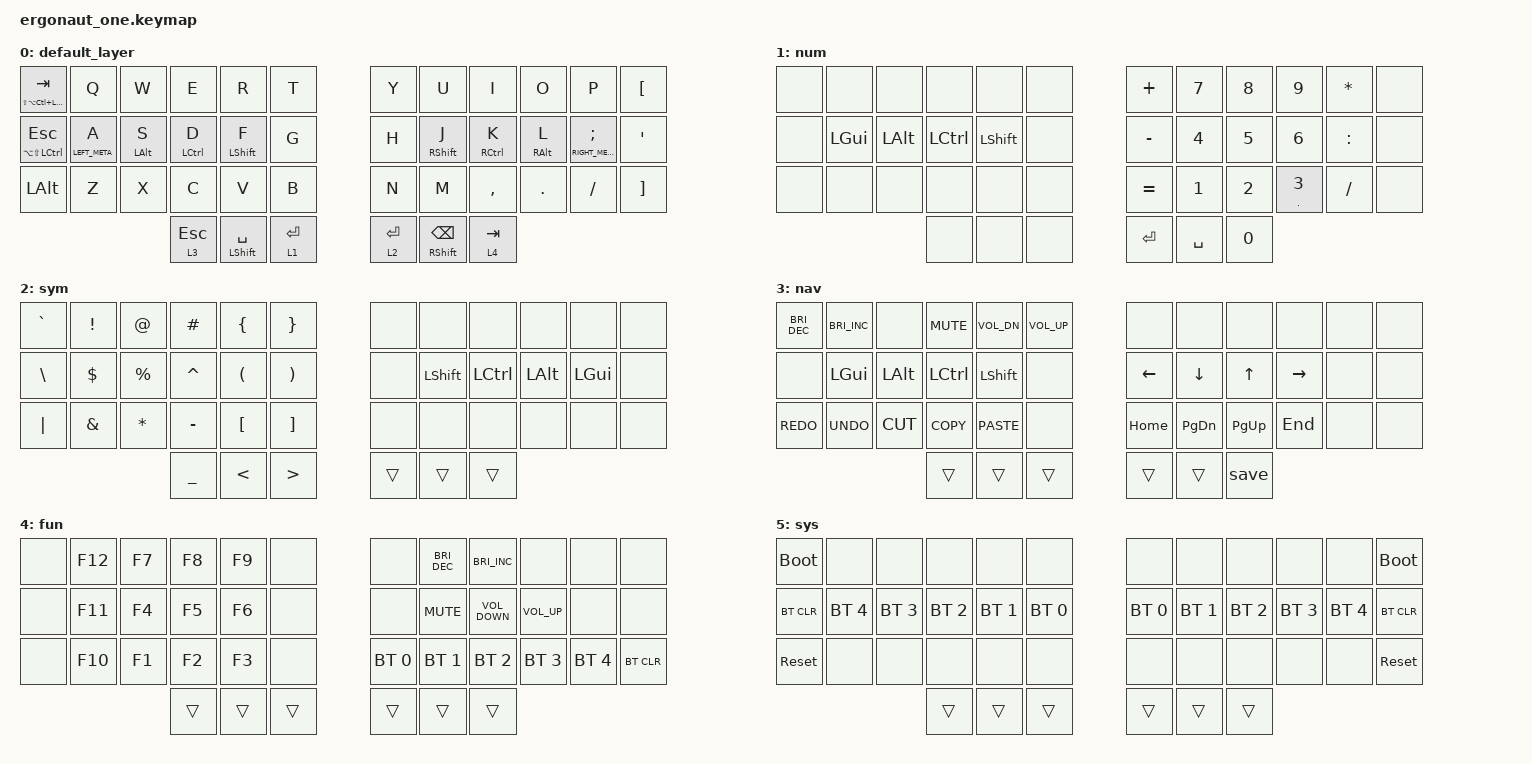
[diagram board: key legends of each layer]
#include <behaviors.dtsi>
#include <dt-bindings/zmk/bt.h>
#include <dt-bindings/zmk/keys.h>

#define DEF 0
#define LWR 1
#define RSE 2
#define ADJ 3

&lt { quick-tap-ms = <200>; };

&mt { quick-tap-ms = <200>; };

/ {
    conditional_layers {
        compatible = "zmk,conditional-layers";

        sys1 {
            if-layers = <1 3>;
            then-layer = <5>;
        };

        sys2 {
            if-layers = <2 4>;
            then-layer = <5>;
        };
    };

    macros {
        save: save {
            compatible = "zmk,behavior-macro";
            #binding-cells = <0>;
            bindings = <&kp COLON &kp W &kp RET>;
            label = "SAVE";
        };
    };

    keymap {
        compatible = "zmk,keymap";

        default_layer {
            bindings = <
&mt LS(LA(LC(LEFT_GUI))) TAB     &kp Q            &kp W           &kp E               &kp R             &kp T      &kp Y        &kp U              &kp I                &kp O            &kp P                &kp LBKT
&mt LA(LS(LEFT_CONTROL)) ESCAPE  &mt LEFT_META A  &mt LEFT_ALT S  &mt LEFT_CONTROL D  &mt LEFT_SHIFT F  &kp G      &kp H        &mt RIGHT_SHIFT J  &mt RIGHT_CONTROL K  &mt RIGHT_ALT L  &mt RIGHT_META SEMI  &kp SINGLE_QUOTE
&kp LEFT_ALT                     &kp Z            &kp X           &kp C               &kp V             &kp B      &kp N        &kp M              &kp COMMA            &kp DOT          &kp FSLH             &kp RIGHT_BRACKET
                                                                  &lt 3 ESCAPE        &mt LSHFT SPACE   &lt 1 RET  &lt 2 ENTER  &mt RSHFT BSPC     &lt 4 TAB
            >;
        };

        num {
            bindings = <
&none  &none     &none     &none      &none      &none  &kp PLUS   &kp N7     &kp N8  &kp N9      &kp ASTERISK  &none
&none  &kp LGUI  &kp LALT  &kp LCTRL  &kp LSHFT  &none  &kp MINUS  &kp N4     &kp N5  &kp N6      &kp COLON     &none
&none  &none     &none     &none      &none      &none  &kp EQUAL  &kp N1     &kp N2  &mt DOT N3  &kp SLASH     &none
                           &none      &none      &none  &kp RET    &kp SPACE  &kp N0
            >;
        };

        sym {
            bindings = <
&kp GRAVE      &kp EXCLAMATION  &kp AT_SIGN   &kp HASH        &kp LEFT_BRACE        &kp RIGHT_BRACE        &none   &none      &none      &none     &none     &none
&kp BACKSLASH  &kp DOLLAR       &kp PERCENT   &kp CARET       &kp LEFT_PARENTHESIS  &kp RIGHT_PARENTHESIS  &none   &kp LSHFT  &kp LCTRL  &kp LALT  &kp LGUI  &none
&kp PIPE       &kp AMPERSAND    &kp ASTERISK  &kp MINUS       &kp LEFT_BRACKET      &kp RIGHT_BRACKET      &none   &none      &none      &none     &none     &none
                                              &kp UNDERSCORE  &kp LESS_THAN         &kp GREATER_THAN       &trans  &trans     &trans
            >;
        };

        nav {
            bindings = <
&kp C_BRIGHTNESS_DEC  &kp C_BRIGHTNESS_INC  &none      &kp K_MUTE  &kp C_VOL_DN  &kp C_VOLUME_UP  &none     &none          &none        &none      &none  &none
&none                 &kp LGUI              &kp LALT   &kp LCTRL   &kp LSHFT     &none            &kp LEFT  &kp DOWN       &kp UP       &kp RIGHT  &none  &none
&kp K_REDO            &kp K_UNDO            &kp K_CUT  &kp K_COPY  &kp K_PASTE   &none            &kp HOME  &kp PAGE_DOWN  &kp PAGE_UP  &kp END    &none  &none
                                                       &trans      &trans        &trans           &trans    &trans         &save
            >;
        };

        fun {
            bindings = <
&none  &kp F12  &kp F7  &kp F8  &kp F9  &none   &none         &kp C_BRI_DEC  &kp C_BRIGHTNESS_INC  &none            &none         &none
&none  &kp F11  &kp F4  &kp F5  &kp F6  &none   &none         &kp K_MUTE     &kp C_VOLUME_DOWN     &kp C_VOLUME_UP  &none         &none
&none  &kp F10  &kp F1  &kp F2  &kp F3  &none   &bt BT_SEL 0  &bt BT_SEL 1   &bt BT_SEL 2          &bt BT_SEL 3     &bt BT_SEL 4  &bt BT_CLR
                        &trans  &trans  &trans  &trans        &trans         &trans
            >;
        };

        sys {
            bindings = <
&bootloader  &none         &none         &none         &none         &none         &none         &none         &none         &none         &none         &bootloader
&bt BT_CLR   &bt BT_SEL 4  &bt BT_SEL 3  &bt BT_SEL 2  &bt BT_SEL 1  &bt BT_SEL 0  &bt BT_SEL 0  &bt BT_SEL 1  &bt BT_SEL 2  &bt BT_SEL 3  &bt BT_SEL 4  &bt BT_CLR
&sys_reset   &none         &none         &none         &none         &none         &none         &none         &none         &none         &none         &sys_reset
                                         &trans        &trans        &trans        &trans        &trans        &trans
            >;
        };
    };
};
